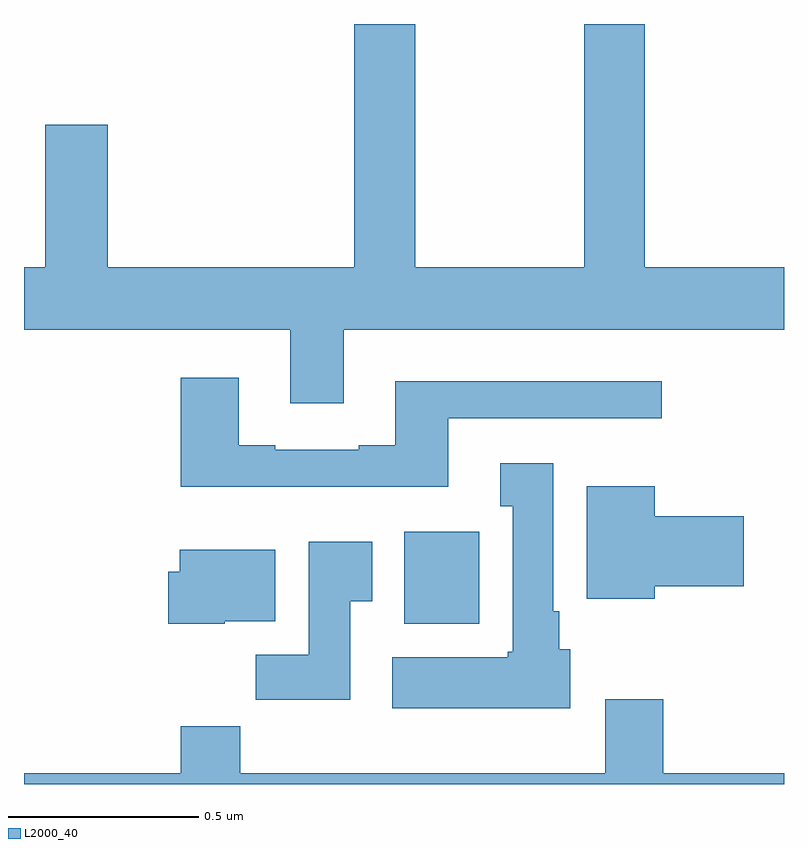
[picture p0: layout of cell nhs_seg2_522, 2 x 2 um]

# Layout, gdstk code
import gdstk
lib = gdstk.Library(unit=1e-6, precision=1e-09)
def R(c, l, rs):  # rectangles x0, y0, x1, y1
    for r in rs: c.add(gdstk.rectangle(r[:2], r[2:], *l))
def P(c, l, *ps):  # polygons
    for p in ps: c.add(gdstk.Polygon(p, *l))
L2000_40 = (2000, 40)

nhs_seg2_522 = lib.new_cell('nhs_seg2_522')
R(nhs_seg2_522, L2000_40, [(118.001,620.222,118.198,620.464)])
P(nhs_seg2_522, L2000_40, [(117.841,620.996),(119,620.996),(119,621.16),(118.634,621.16),(118.634,621.8),(118.474,621.8),(118.474,621.16),(118.029,621.16),(118.029,621.8),(117.869,621.8),(117.869,621.16),(117.22,621.16),(117.22,621.535),(117.056,621.535),(117.056,621.16),(117,621.16),(117,620.996),(117.701,620.996),(117.701,620.802),(117.841,620.802)],
  [(118.117,620.763),(118.678,620.763),(118.678,620.86),(117.977,620.86),(117.977,620.692),(117.881,620.692),(117.881,620.679),(117.661,620.679),(117.661,620.692),(117.565,620.692),(117.565,620.869),(117.413,620.869),(117.413,620.582),(118.117,620.582)],
  [(118.438,620.154),(118.408,620.154),(118.408,620.254),(118.393,620.254),(118.393,620.644),(118.253,620.644),(118.253,620.531),(118.286,620.531),(118.286,620.148),(118.273,620.148),(118.273,620.134),(117.969,620.134),(117.969,620),(118.438,620)],
  [(118.66,620.321),(118.894,620.321),(118.894,620.504),(118.66,620.504),(118.66,620.584),(118.481,620.584),(118.481,620.288),(118.66,620.288)],
  [(117.859,620.281),(117.916,620.281),(117.916,620.437),(117.749,620.437),(117.749,620.14),(117.61,620.14),(117.61,620.022),(117.859,620.022)],
  [(117.528,620.228),(117.661,620.228),(117.661,620.416),(117.41,620.416),(117.41,620.358),(117.38,620.358),(117.38,620.222),(117.528,620.222)],
  [(119,619.828),(118.682,619.828),(118.682,620.023),(118.529,620.023),(118.529,619.828),(117.569,619.828),(117.569,619.952),(117.413,619.952),(117.413,619.828),(117,619.828),(117,619.8),(119,619.8)])

lib.write_gds('nhs_seg2_522.gds')
